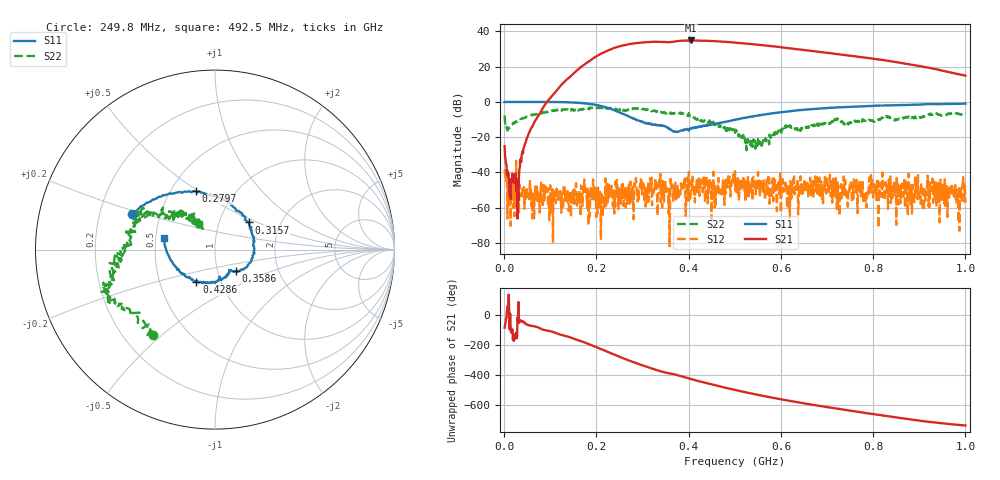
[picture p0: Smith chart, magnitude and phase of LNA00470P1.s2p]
! Created with skrf 1.9.0 (http://scikit-rf.org).
# Hz S RI R 50.0
!freq ReS11 ImS11 ReS21 ImS21 ReS12 ImS12 ReS22 ImS22
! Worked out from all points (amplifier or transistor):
!   1001 points, 1 MHz to 1 GHz, reference 50 ohm
!   highest |S21| = 34.9 dB at 404.6 MHz (marker M1)
!   |S21| within 3 dB of that: 255.4 MHz to 571.4 MHz (316 MHz wide, 76.4 % of centre)
!   unconditionally stable (mu >= 1): 286.1 MHz to 338.5 MHz; 338.7 MHz to 400.6 MHz; 400.6 MHz to end of sweep (the widest 3 of 33)
!   at 166.8 MHz: K = 0.51, MSG = 33.7 dB, |S12| = -47.5 dB
!   at 500.5 MHz: K = 1.08, MAG = 34.9 dB, |S12| = -39.4 dB
!   at 1 GHz: K = 10.31, MAG = 22.9 dB, |S12| = -57.2 dB
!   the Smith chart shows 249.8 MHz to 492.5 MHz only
!   S11 on the Smith chart (normalised r, x): 249.8 MHz: 0.34, +0.18; 279.7 MHz: 0.67, +0.49; 315.7 MHz: 1.38, +0.44; 358.6 MHz: 1.23, -0.31; 428.6 MHz: 0.76, -0.29; 492.5 MHz: 0.55, +0.08
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1000000  0.9951 0.0163  0.00357 -0.0552  -0.012 -1.46e-05  0.2604 0.32
1.08892e8  0.5275 -0.8426  -0.8218 -1.561  0.00048 -0.00154  0.4166 -0.3664
1.67833e8  -0.2185 -0.9002  -10.09 -0.4888  0.00161 -0.00338  0.0377 -0.6286
2.12788e8  -0.6656 -0.345  -15.1 19.05  0.000422 0.000299  -0.2303 -0.6188
2.29771e8  -0.6357 -0.0619  -8.644 29.33  0.00225 -0.00132  -0.2923 -0.6024
2.49751e8  -0.465 0.2002  6.129 37.29  -0.000144 0.00175  -0.3481 -0.4761
2.79721e8  -0.1052 0.3244  32.16 32.24  0.00136 0.00386  -0.5975 -0.2896
3.15685e8  0.1884 0.1515  50.07 5.391  -2.21e-05 0.00645  -0.5532 -0.0828
3.34666e8  0.2175 0.0076  49.76 -10.65  -0.00219 0.00124  -0.526 -0.029
3.58642e8  0.1182 -0.1213  42.72 -25.54  -7.89e-05 -1.25e-05  -0.4568 0.0993
3.79621e8  0.0813 -0.1225  37.58 -38.59  -0.0013 0.00311  -0.4314 0.2038
4.04596e8  0.0191 -0.1702  20.9 -51.54  -0.00308 0.000384  -0.342 0.2063
4.28572e8  -0.1038 -0.1805  2.507 -54.9  0.00362 0.00504  -0.2135 0.1938
4.55545e8  -0.2118 -0.1109  -16.87 -50.2  0.000714 0.00413  -0.1598 0.1709
4.92508e8  -0.2864 0.067  -34.86 -34.87  0.00368 -0.000952  -0.0915 0.1437
5.005e8  -0.2949 0.1133  -37.57 -30.68  0.00973 0.00457  -0.0778 0.1074
5.39461e8  -0.2322 0.3086  -42.31 -10.1  0.00444 -0.00508  -0.0504 0.0218
5.88412e8  -0.045 0.4842  -35.63 10.71  0.00284 -0.000959  -0.0992 -0.0584
6.67333e8  0.3302 0.5307  -14.28 23.78  -5.1e-05 -0.00557  -0.2093 -0.0496
7.53247e8  0.6333 0.3621  3.596 19.89  -0.000985 -0.00351  -0.2578 -0.0142
8.34166e8  0.784 0.1264  10.59 9.998  -0.00616 -0.0013  -0.3767 -0.0147
1e9  0.803 -0.3953  5.323 -1.671  0.00133 0.000368  -0.3641 0.292
